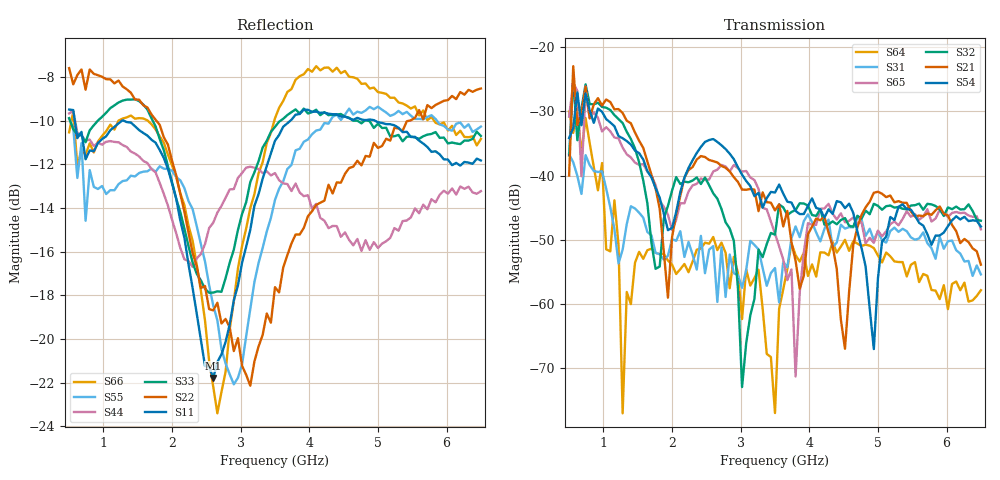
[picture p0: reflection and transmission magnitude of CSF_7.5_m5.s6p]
!Keysight Technologies,M9804A,MY58100912,A.14.10.03
!Date: Thursday, April 27, 2023 10:28:33
!Correction: S11(C  6-Port  )
!S12(C  6-Port  )
!S13(C  6-Port  )
!S14(C  6-Port  )
!S15(C  6-Port  )
!S16(C  6-Port  )
!S21(C  6-Port  )
!S22(C  6-Port  )
!S23(C  6-Port  )
!S24(C  6-Port  )
!S25(C  6-Port  )
!S26(C  6-Port  )
!S31(C  6-Port  )
!S32(C  6-Port  )
!S33(C  6-Port  )
!S34(C  6-Port  )
!S35(C  6-Port  )
!S36(C  6-Port  )
!S41(C  6-Port  )
!S42(C  6-Port  )
!S43(C  6-Port  )
!S44(C  6-Port  )
!S45(C  6-Port  )
!S46(C  6-Port  )
!S51(C  6-Port  )
!S52(C  6-Port  )
!S53(C  6-Port  )
!S54(C  6-Port  )
!S55(C  6-Port  )
!S56(C  6-Port  )
!S61(C  6-Port  )
!S62(C  6-Port  )
!S63(C  6-Port  )
!S64(C  6-Port  )
!S65(C  6-Port  )
!S66(C  6-Port  )
!S6P File: Measurement: :
# Hz S  RI  R 50
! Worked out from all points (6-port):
!   101 points, 500 MHz to 6.5 GHz, reference 50 ohm
!   strongest paths, dB at 500 MHz, 2 GHz, 3.5 GHz, 5 GHz, 6.5 GHz:
!     S54: -34.1, -48.2, -42.7, -56.1, -48.0
!     S21: -40.0, -49.6, -45.4, -42.5, -53.9
!     S32: -36.9, -42.4, -49.2, -44.7, -47.1
!     S65: -30.8, -48.5, -49.1, -48.6, -48.4
!     S31: -36.7, -49.9, -54.5, -48.7, -55.4
!     S64: -30.0, -53.9, -77.1, -52.5, -57.9
!   lowest |S11| = -21.8 dB at 2.6 GHz (marker M1), VSWR 1.18, Z = 42.7 + j1.97 ohm
!   |S11| at or under -10 dB: 582.8 MHz to 1.27 GHz (687.6 MHz wide, 74.2 % of centre); 1.297 GHz to 3.723 GHz (2.426 GHz wide, 96.7 % of centre); 4.958 GHz to end of sweep
